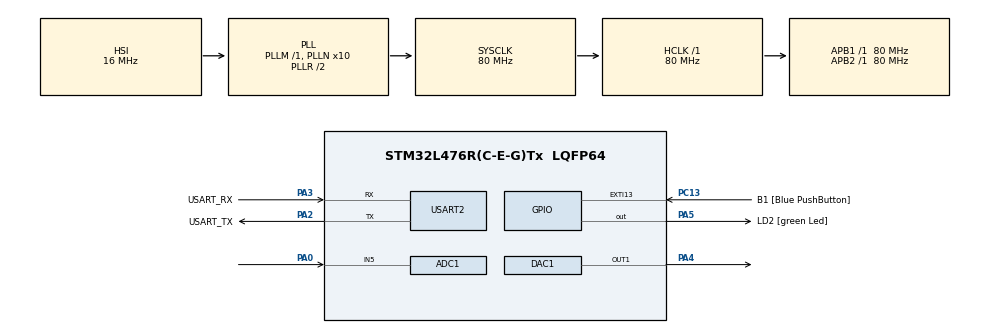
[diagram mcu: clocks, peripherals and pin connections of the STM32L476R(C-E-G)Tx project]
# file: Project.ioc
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ADC1.Channel-0\#ChannelRegularConversion=ADC_CHANNEL_5
ADC1.ContinuousConvMode=DISABLE
ADC1.DMAContinuousRequests=ENABLE
ADC1.ExternalTrigConv=ADC_EXTERNALTRIG_T6_TRGO
ADC1.NbrOfConversionFlag=1
ADC1.OffsetNumber-0\#ChannelRegularConversion=ADC_OFFSET_NONE
ADC1.Rank-0\#ChannelRegularConversion=1
ADC1.SamplingTime-0\#ChannelRegularConversion=ADC_SAMPLETIME_2CYCLES_5
ADC1.master=1
DAC1.DAC_Trigger-DAC_OUT1=DAC_TRIGGER_T6_TRGO
Dma.ADC1.0.Direction=DMA_PERIPH_TO_MEMORY
Dma.ADC1.0.Instance=DMA1_Channel1
Dma.ADC1.0.MemDataAlignment=DMA_MDATAALIGN_HALFWORD
Dma.ADC1.0.MemInc=DMA_MINC_ENABLE
Dma.ADC1.0.Mode=DMA_NORMAL
Dma.ADC1.0.PeriphDataAlignment=DMA_PDATAALIGN_HALFWORD
Dma.ADC1.0.PeriphInc=DMA_PINC_DISABLE
Dma.ADC1.0.Priority=DMA_PRIORITY_LOW
Dma.Request0=ADC1
Mcu.Family=STM32L4
Mcu.Name=STM32L476R(C-E-G)Tx
Mcu.Package=LQFP64
NVIC.DMA1_Channel1_IRQn=true\:0\:0\:false\:false\:true\:false\:true\:true
NVIC.EXTI15_10_IRQn=true\:0\:0\:false\:false\:true\:true\:true\:true
NVIC.PriorityGroup=NVIC_PRIORITYGROUP_4
PA0.Signal=ADCx_IN5
PA13\ (JTMS-SWDIO).GPIO_Label=TMS
PA13\ (JTMS-SWDIO).Mode=Serial_Wire
PA13\ (JTMS-SWDIO).Signal=SYS_JTMS-SWDIO
PA14\ (JTCK-SWCLK).GPIO_Label=TCK
PA14\ (JTCK-SWCLK).Mode=Serial_Wire
PA14\ (JTCK-SWCLK).Signal=SYS_JTCK-SWCLK
PA2.GPIO_Label=USART_TX
PA2.GPIO_Mode=GPIO_MODE_AF_PP
PA2.GPIO_PuPd=GPIO_NOPULL
PA2.GPIO_Speed=GPIO_SPEED_FREQ_VERY_HIGH
PA2.Mode=Asynchronous
PA2.Signal=USART2_TX
PA3.GPIO_Label=USART_RX
PA3.GPIO_Mode=GPIO_MODE_AF_PP
PA3.GPIO_PuPd=GPIO_NOPULL
PA3.GPIO_Speed=GPIO_SPEED_FREQ_VERY_HIGH
PA3.Mode=Asynchronous
PA3.Signal=USART2_RX
PA4.Signal=COMP_DAC11_group
PA5.GPIO_Label=LD2 [green Led]
PA5.Signal=GPIO_Output
PB3\ (JTDO-TRACESWO).GPIO_Label=SWO
PB3\ (JTDO-TRACESWO).Signal=SYS_JTDO-SWO
PC13.GPIO_Label=B1 [Blue PushButton]
PC13.Signal=GPXTI13
PC14-OSC32_IN\ (PC14).Mode=LSE-External-Oscillator
PC14-OSC32_IN\ (PC14).Signal=RCC_OSC32_IN
PC15-OSC32_OUT\ (PC15).Mode=LSE-External-Oscillator
PC15-OSC32_OUT\ (PC15).Signal=RCC_OSC32_OUT
PH0-OSC_IN\ (PH0).Signal=RCC_OSC_IN
PH1-OSC_OUT\ (PH1).Signal=RCC_OSC_OUT
ProjectManager.HeapSize=0x200
ProjectManager.StackSize=0x400
ProjectManager.TargetToolchain=STM32CubeIDE
RCC.ADCFreq_Value=64000000
RCC.AHBFreq_Value=80000000
RCC.APB1Freq_Value=80000000
RCC.APB1TimFreq_Value=80000000
RCC.APB2Freq_Value=80000000
RCC.APB2TimFreq_Value=80000000
RCC.CortexFreq_Value=80000000
RCC.HCLKFreq_Value=80000000
RCC.HSE_VALUE=8000000
RCC.HSI_VALUE=16000000
RCC.MSI_VALUE=4000000
RCC.PLLN=10
RCC.PLLSourceVirtual=RCC_PLLSOURCE_HSI
RCC.PREFETCH_ENABLE=1
RCC.SYSCLKFreq_VALUE=80000000
RCC.SYSCLKSource=RCC_SYSCLKSOURCE_PLLCLK
RCC.USBFreq_Value=64000000
RCC.VCOOutputFreq_Value=160000000
SH.ADCx_IN5.0=ADC1_IN5,IN5-Single-Ended
SH.COMP_DAC11_group.0=DAC1_OUT1,DAC_OUT1
TIM6.Period=49
TIM6.Prescaler=79
TIM6.TIM_MasterOutputTrigger=TIM_TRGO_UPDATE
USART2.VirtualMode-Asynchronous=VM_ASYNC
VP_TIM6_VS_ClockSourceINT.Mode=Enable_Timer
board=NUCLEO-L476RG

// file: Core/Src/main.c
/* USER CODE BEGIN Header */
/**
  ******************************************************************************
  * @file           : main.c
  * @brief          : Main program body
  ******************************************************************************
  * @attention
  *
  * Copyright (c) 2026 STMicroelectronics.
  * All rights reserved.
  *
  * This software is licensed under terms that can be found in the LICENSE file
  * in the root directory of this software component.
  * If no LICENSE file comes with this software, it is provided AS-IS.
  *
  ******************************************************************************
  */
/* USER CODE END Header */
#include "main.h"

/* USER CODE BEGIN Includes */
#include "arm_math.h"
#include "arm_const_structs.h"
#include <string.h>
#include <stdio.h>
/* USER CODE END Includes */

/* USER CODE BEGIN PD */
#define BUFFER_SIZE     2048
#define SAMPLE_RATE     20000
#define BIN_HZ          ((float32_t)SAMPLE_RATE / (float32_t)BUFFER_SIZE)  // 9.77 Hz/bin

#define PASSCODE_LEN    4
#define TONE_TOLERANCE  45.0f      // matching tolerance
#define MAG_THRESHOLD   60.0f      // rejects below this threshold
/* USER CODE END PD */

ADC_HandleTypeDef hadc1;
DMA_HandleTypeDef hdma_adc1;

DAC_HandleTypeDef hdac1;

TIM_HandleTypeDef htim6;

UART_HandleTypeDef huart2;

/* USER CODE BEGIN PV */
uint16_t  adc_buffer[BUFFER_SIZE];
float32_t fft_input[BUFFER_SIZE];
float32_t fft_output[BUFFER_SIZE];
float32_t fft_magnitude[BUFFER_SIZE / 2];

volatile uint8_t acquisition_done = 0;

/* DTMF reference frequencies */
static const float32_t low_freqs[4]  = { 697.0f, 770.0f, 852.0f,  941.0f };
static const float32_t high_freqs[4] = { 1209.0f, 1336.0f, 1477.0f, 1633.0f };

static const char dtmf_keypad[4][4] =
{
		{ '1', '2', '3', 'A' },
		{ '4', '5', '6', 'B' },
		{ '7', '8', '9', 'C' },
		{ '*', '0', '#', 'D' }
};

// Predefined access code
static const char passcode[PASSCODE_LEN + 1] = "1256";

// Passcode state
static char    sequence[PASSCODE_LEN + 1] = {0};
static uint8_t seq_index = 0;

// Debug print buffer
static char dbg[160];

/* USER CODE END PV */

void SystemClock_Config(void);
static void MX_GPIO_Init(void);
static void MX_DMA_Init(void);
static void MX_USART2_UART_Init(void);
static void MX_ADC1_Init(void);
static void MX_TIM6_Init(void);
static void MX_DAC1_Init(void);

/* USER CODE BEGIN 0 */

// Send a string over USART2 (115200 baud)
void uart_print(const char *s)
	{
	HAL_UART_Transmit(&huart2, (uint8_t *)s, strlen(s), HAL_MAX_DELAY);
	}

// Runs FFT on adc_buffer and identify the DTMF key pressed and
// returns the keypad character, or '?' if no valid tone is detected

char processFFT(uint16_t *inBuffer, uint16_t size)
	{
	int32_t   sum = 0;
	float32_t mean;
	float32_t low_peak_mag = 0.0f, high_peak_mag = 0.0f;
	uint16_t  low_peak_bin = 0, high_peak_bin = 0;
	float32_t low_hz, high_hz;
	int8_t    row = -1, col = -1;
	uint16_t  raw_min = 0xFFFF, raw_max = 0;
	arm_rfft_fast_instance_f32 rfft;

	// DTMF band limits (in FFT bins)
	uint16_t low_start  = (uint16_t)(650.0f  / BIN_HZ);
	uint16_t low_end    = (uint16_t)(990.0f  / BIN_HZ);
	uint16_t high_start = (uint16_t)(1150.0f / BIN_HZ);
	uint16_t high_end   = (uint16_t)(1700.0f / BIN_HZ);

	// Compute DC offset (mean) and track signal range
	for (uint16_t n = 0; n < size; n++)
		{
		sum += (int32_t) inBuffer[n];
		if (inBuffer[n] < raw_min) raw_min = inBuffer[n];
		if (inBuffer[n] > raw_max) raw_max = inBuffer[n];
		}
	mean = (float32_t) sum / (float32_t) size;

	snprintf(dbg, sizeof(dbg),
		"  ADC: min=%u max=%u peak-peak=%u mean=%d\r\n",
		raw_min, raw_max, raw_max - raw_min, (int)mean);
	uart_print(dbg);

	// Remove DC offset, convert to float
	for (uint16_t n = 0; n < size; n++)
		{
		fft_input[n] = (float32_t) inBuffer[n] - mean;
		}

	// Do Real FFT
	arm_rfft_fast_init_f32(&rfft, BUFFER_SIZE);
	arm_rfft_fast_f32(&rfft, fft_input, fft_output, 0);

	// Zero out the Nyquist bin packed into output[1]
	fft_output[1] = 0.0f;

	// Magnitude spectrum
	arm_cmplx_mag_f32(fft_output, fft_magnitude, BUFFER_SIZE / 2);
	fft_magnitude[0] = 0.0f;

	// Search low DTMF band
	for (uint16_t k = low_start; k <= low_end; k++)
		{
		if (fft_magnitude[k] > low_peak_mag)
			{
			low_peak_mag = fft_magnitude[k];
			low_peak_bin = k;
			}
		}

	// Search high DTMF band
	for (uint16_t k = high_start; k <= high_end; k++)
		{
		if (fft_magnitude[k] > high_peak_mag)
			{
			high_peak_mag = fft_magnitude[k];
			high_peak_bin = k;
			}
		}

	low_hz  = (float32_t) low_peak_bin  * BIN_HZ;
	high_hz = (float32_t) high_peak_bin * BIN_HZ;

	snprintf(dbg, sizeof(dbg),
		"  FFT: low_peak=%dHz mag=%d  |  high_peak=%dHz mag=%d\r\n",
		(int)low_hz, (int)low_peak_mag,
		(int)high_hz, (int)high_peak_mag);
	uart_print(dbg);

	// Reject weak signals
	if (low_peak_mag < MAG_THRESHOLD || high_peak_mag < MAG_THRESHOLD)
		{
		uart_print("  REJECT: signal below MAG_THRESHOLD\r\n");
		return '?';
		}

	// Match low frequency
	for (int8_t i = 0; i < 4; i++)
		{
		if (fabsf(low_hz - low_freqs[i]) <= TONE_TOLERANCE)
			{
			row = i;
			break;
			}
		}

	// Match high frequency
	for (int8_t i = 0; i < 4; i++)
		{
		if (fabsf(high_hz - high_freqs[i]) <= TONE_TOLERANCE)
			{
			col = i;
			break;
			}
		}

	if (row < 0 || col < 0)
		{
		snprintf(dbg, sizeof(dbg),
			"  REJECT: no DTMF match (row=%d col=%d, tol=%dHz)\r\n",
			row, col, (int)TONE_TOLERANCE);
		uart_print(dbg);
		return '?';
		}

	return dtmf_keypad[row][col];
	}

// LD2 solid ON for 2 seconds (correct passcode)
void feedback_correct(void)
	{
	uart_print(">>> ACCESS GRANTED\r\n\r\n");
	HAL_GPIO_WritePin(LD2_GPIO_Port, LD2_Pin, GPIO_PIN_SET);
	HAL_Delay(2000);
	HAL_GPIO_WritePin(LD2_GPIO_Port, LD2_Pin, GPIO_PIN_RESET);
	}

//  Blink LD2 at 5 Hz for 1 second (incorrect passcode)
void feedback_incorrect(void)
	{
	uart_print(">>> ACCESS DENIED\r\n\r\n");
	for (uint8_t i = 0; i < 10; i++)
		{
		HAL_GPIO_TogglePin(LD2_GPIO_Port, LD2_Pin);
		HAL_Delay(100);
		}
	HAL_GPIO_WritePin(LD2_GPIO_Port, LD2_Pin, GPIO_PIN_RESET);
	}

void HAL_GPIO_EXTI_Callback(uint16_t GPIO_Pin)
	{
	uart_print(">> Button pressed\r\n");
	HAL_ADC_Start_DMA(&hadc1, (uint32_t *)adc_buffer, BUFFER_SIZE);
	}

void HAL_ADC_ConvCpltCallback(ADC_HandleTypeDef *hadc)
	{
	HAL_ADC_Stop_DMA(&hadc1);
	acquisition_done = 1;
	}

/* USER CODE END 0 */

int main(void)
{

  /* MCU Configuration--------------------------------------------------------*/

  /* Reset of all peripherals, Initializes the Flash interface and the Systick. */
  HAL_Init();

  /* Configure the system clock */
  SystemClock_Config();

  /* Initialize all configured peripherals */
  MX_GPIO_Init();
  MX_DMA_Init();
  MX_USART2_UART_Init();
  MX_ADC1_Init();
  MX_TIM6_Init();
  MX_DAC1_Init();
  /* USER CODE BEGIN 2 */
  HAL_ADCEx_Calibration_Start(&hadc1, ADC_SINGLE_ENDED);
  HAL_TIM_Base_Start(&htim6);

  uart_print("\r\n=== DTMF Entry System (DEBUG) ===\r\n");
  uart_print("Fs = 20 kHz, FFT = 2048, bin = ~9.77 Hz\r\n");
  uart_print("Passcode: 6\r\n");
  uart_print("Press B1 once per digit while playing the tone.\r\n\r\n");
  /* USER CODE END 2 */

  /* Infinite loop */
  /* USER CODE BEGIN WHILE */
while(1) {
	if (acquisition_done)
		{
		acquisition_done = 0;

		uart_print("--- Capture complete, running FFT ---\r\n");

		char key = processFFT(adc_buffer, BUFFER_SIZE);

		if (key != '?')
			{
			snprintf(dbg, sizeof(dbg), "  KEY DETECTED: '%c'\r\n", key);
			uart_print(dbg);

			sequence[seq_index++] = key;
			sequence[seq_index]   = '\0';

			snprintf(dbg, sizeof(dbg),
				"  Sequence: %s  (%u/%u)\r\n",
				sequence, seq_index, PASSCODE_LEN);
			uart_print(dbg);

			if (seq_index >= PASSCODE_LEN)
				{
				if (strcmp(sequence, passcode) == 0)
					{
					feedback_correct();
					}
				else
					{
					feedback_incorrect();
					}
				seq_index = 0;
				memset(sequence, 0, sizeof(sequence));
				}
			}
		uart_print("\r\n");
		}
  /* USER CODE BEGIN 3 */

    /* USER CODE END WHILE */

    /* USER CODE BEGIN 3 */

    /* USER CODE END WHILE */

    /* USER CODE BEGIN 3 */

    /* USER CODE END WHILE */

    /* USER CODE BEGIN 3 */

    /* USER CODE END WHILE */
	}

  /* USER CODE END 3 */
}

void SystemClock_Config(void)
{
  RCC_OscInitTypeDef RCC_OscInitStruct = {0};
  RCC_ClkInitTypeDef RCC_ClkInitStruct = {0};

  /** Configure the main internal regulator output voltage
  */
  if (HAL_PWREx_ControlVoltageScaling(PWR_REGULATOR_VOLTAGE_SCALE1) != HAL_OK)
  {
    Error_Handler();
  }

  /** Initializes the RCC Oscillators according to the specified parameters
  * in the RCC_OscInitTypeDef structure.
  */
  RCC_OscInitStruct.OscillatorType = RCC_OSCILLATORTYPE_HSI;
  RCC_OscInitStruct.HSIState = RCC_HSI_ON;
  RCC_OscInitStruct.HSICalibrationValue = RCC_HSICALIBRATION_DEFAULT;
  RCC_OscInitStruct.PLL.PLLState = RCC_PLL_ON;
  RCC_OscInitStruct.PLL.PLLSource = RCC_PLLSOURCE_HSI;
  RCC_OscInitStruct.PLL.PLLM = 1;
  RCC_OscInitStruct.PLL.PLLN = 10;
  RCC_OscInitStruct.PLL.PLLP = RCC_PLLP_DIV7;
  RCC_OscInitStruct.PLL.PLLQ = RCC_PLLQ_DIV2;
  RCC_OscInitStruct.PLL.PLLR = RCC_PLLR_DIV2;
  if (HAL_RCC_OscConfig(&RCC_OscInitStruct) != HAL_OK)
  {
    Error_Handler();
  }

  /** Initializes the CPU, AHB and APB buses clocks
  */
  RCC_ClkInitStruct.ClockType = RCC_CLOCKTYPE_HCLK|RCC_CLOCKTYPE_SYSCLK
                              |RCC_CLOCKTYPE_PCLK1|RCC_CLOCKTYPE_PCLK2;
  RCC_ClkInitStruct.SYSCLKSource = RCC_SYSCLKSOURCE_PLLCLK;
  RCC_ClkInitStruct.AHBCLKDivider = RCC_SYSCLK_DIV1;
  RCC_ClkInitStruct.APB1CLKDivider = RCC_HCLK_DIV1;
  RCC_ClkInitStruct.APB2CLKDivider = RCC_HCLK_DIV1;

  if (HAL_RCC_ClockConfig(&RCC_ClkInitStruct, FLASH_LATENCY_4) != HAL_OK)
  {
    Error_Handler();
  }
}

static void MX_ADC1_Init(void)
{

  ADC_MultiModeTypeDef multimode = {0};
  ADC_ChannelConfTypeDef sConfig = {0};

  /** Common config
  */
  hadc1.Instance = ADC1;
  hadc1.Init.ClockPrescaler = ADC_CLOCK_ASYNC_DIV1;
  hadc1.Init.Resolution = ADC_RESOLUTION_12B;
  hadc1.Init.DataAlign = ADC_DATAALIGN_RIGHT;
  hadc1.Init.ScanConvMode = ADC_SCAN_DISABLE;
  hadc1.Init.EOCSelection = ADC_EOC_SINGLE_CONV;
  hadc1.Init.LowPowerAutoWait = DISABLE;
  hadc1.Init.ContinuousConvMode = DISABLE;
  hadc1.Init.NbrOfConversion = 1;
  hadc1.Init.DiscontinuousConvMode = DISABLE;
  hadc1.Init.ExternalTrigConv = ADC_EXTERNALTRIG_T6_TRGO;
  hadc1.Init.ExternalTrigConvEdge = ADC_EXTERNALTRIGCONVEDGE_RISING;
  hadc1.Init.DMAContinuousRequests = ENABLE;
  hadc1.Init.Overrun = ADC_OVR_DATA_PRESERVED;
  hadc1.Init.OversamplingMode = DISABLE;
  if (HAL_ADC_Init(&hadc1) != HAL_OK)
  {
    Error_Handler();
  }

  /** Configure the ADC multi-mode
  */
  multimode.Mode = ADC_MODE_INDEPENDENT;
  if (HAL_ADCEx_MultiModeConfigChannel(&hadc1, &multimode) != HAL_OK)
  {
    Error_Handler();
  }

  /** Configure Regular Channel
  */
  sConfig.Channel = ADC_CHANNEL_5;
  sConfig.Rank = ADC_REGULAR_RANK_1;
  sConfig.SamplingTime = ADC_SAMPLETIME_2CYCLES_5;
  sConfig.SingleDiff = ADC_SINGLE_ENDED;
  sConfig.OffsetNumber = ADC_OFFSET_NONE;
  sConfig.Offset = 0;
  if (HAL_ADC_ConfigChannel(&hadc1, &sConfig) != HAL_OK)
  {
    Error_Handler();
  }

}

static void MX_DAC1_Init(void)
{

  DAC_ChannelConfTypeDef sConfig = {0};

  /** DAC Initialization
  */
  hdac1.Instance = DAC1;
  if (HAL_DAC_Init(&hdac1) != HAL_OK)
  {
    Error_Handler();
  }

  /** DAC channel OUT1 config
  */
  sConfig.DAC_SampleAndHold = DAC_SAMPLEANDHOLD_DISABLE;
  sConfig.DAC_Trigger = DAC_TRIGGER_T6_TRGO;
  sConfig.DAC_OutputBuffer = DAC_OUTPUTBUFFER_ENABLE;
  sConfig.DAC_ConnectOnChipPeripheral = DAC_CHIPCONNECT_DISABLE;
  sConfig.DAC_UserTrimming = DAC_TRIMMING_FACTORY;
  if (HAL_DAC_ConfigChannel(&hdac1, &sConfig, DAC_CHANNEL_1) != HAL_OK)
  {
    Error_Handler();
  }

}

static void MX_TIM6_Init(void)
{

  TIM_MasterConfigTypeDef sMasterConfig = {0};

  htim6.Instance = TIM6;
  htim6.Init.Prescaler = 79;
  htim6.Init.CounterMode = TIM_COUNTERMODE_UP;
  htim6.Init.Period = 49;
  htim6.Init.AutoReloadPreload = TIM_AUTORELOAD_PRELOAD_DISABLE;
  if (HAL_TIM_Base_Init(&htim6) != HAL_OK)
  {
    Error_Handler();
  }
  sMasterConfig.MasterOutputTrigger = TIM_TRGO_UPDATE;
  sMasterConfig.MasterSlaveMode = TIM_MASTERSLAVEMODE_DISABLE;
  if (HAL_TIMEx_MasterConfigSynchronization(&htim6, &sMasterConfig) != HAL_OK)
  {
    Error_Handler();
  }

}

static void MX_USART2_UART_Init(void)
{

  huart2.Instance = USART2;
  huart2.Init.BaudRate = 115200;
  huart2.Init.WordLength = UART_WORDLENGTH_8B;
  huart2.Init.StopBits = UART_STOPBITS_1;
  huart2.Init.Parity = UART_PARITY_NONE;
  huart2.Init.Mode = UART_MODE_TX_RX;
  huart2.Init.HwFlowCtl = UART_HWCONTROL_NONE;
  huart2.Init.OverSampling = UART_OVERSAMPLING_16;
  huart2.Init.OneBitSampling = UART_ONE_BIT_SAMPLE_DISABLE;
  huart2.AdvancedInit.AdvFeatureInit = UART_ADVFEATURE_NO_INIT;
  if (HAL_UART_Init(&huart2) != HAL_OK)
  {
    Error_Handler();
  }

}

static void MX_DMA_Init(void)
{

  /* DMA controller clock enable */
  __HAL_RCC_DMA1_CLK_ENABLE();

  /* DMA interrupt init */
  /* DMA1_Channel1_IRQn interrupt configuration */
  HAL_NVIC_SetPriority(DMA1_Channel1_IRQn, 0, 0);
  HAL_NVIC_EnableIRQ(DMA1_Channel1_IRQn);

}

static void MX_GPIO_Init(void)
{
  GPIO_InitTypeDef GPIO_InitStruct = {0};

  /* GPIO Ports Clock Enable */
  __HAL_RCC_GPIOC_CLK_ENABLE();
  __HAL_RCC_GPIOH_CLK_ENABLE();
  __HAL_RCC_GPIOA_CLK_ENABLE();
  __HAL_RCC_GPIOB_CLK_ENABLE();

  /*Configure GPIO pin Output Level */
  HAL_GPIO_WritePin(LD2_GPIO_Port, LD2_Pin, GPIO_PIN_RESET);

  /*Configure GPIO pin : B1_Pin */
  GPIO_InitStruct.Pin = B1_Pin;
  GPIO_InitStruct.Mode = GPIO_MODE_IT_RISING;
  GPIO_InitStruct.Pull = GPIO_NOPULL;
  HAL_GPIO_Init(B1_GPIO_Port, &GPIO_InitStruct);

  /*Configure GPIO pin : LD2_Pin */
  GPIO_InitStruct.Pin = LD2_Pin;
  GPIO_InitStruct.Mode = GPIO_MODE_OUTPUT_PP;
  GPIO_InitStruct.Pull = GPIO_NOPULL;
  GPIO_InitStruct.Speed = GPIO_SPEED_FREQ_LOW;
  HAL_GPIO_Init(LD2_GPIO_Port, &GPIO_InitStruct);

  /* EXTI interrupt init*/
  HAL_NVIC_SetPriority(EXTI15_10_IRQn, 0, 0);
  HAL_NVIC_EnableIRQ(EXTI15_10_IRQn);

}

void Error_Handler(void)
{
  __disable_irq();
  while (1)
  {
  }
}
